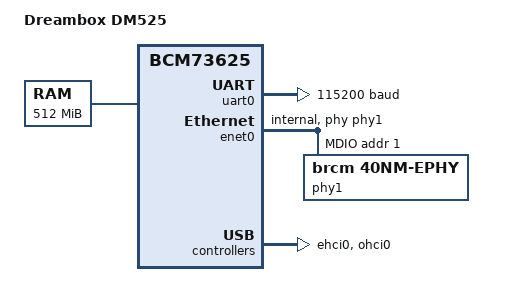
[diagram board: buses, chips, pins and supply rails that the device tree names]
// SPDX-License-Identifier: GPL-2.0
/*
 * Dreambox DM525 (BCM73625A0, BMIPS4380 V6.5, little-endian).
 *
 * Not a BCM7362. The RDB window base 0x10000000 is the same translation
 * that puts this SoC's captured peripherals at the addresses below, but
 * the memory map is the vendor map for this box and nothing else is
 * copied from bcm7362.dtsi.
 *
 * RAM is 512 MiB in two banks. The vendor kernel reserved
 * 0x04000000-0x0fffffff as decoder bmem. This kernel has no decoder
 * driver and no video output, so that window is normal memory.
 * The bank at 0x20000000 is above the 512 MiB direct map, so it is
 * highmem. 16 KiB pages remove the dcache alias that made Linux
 * drop highmem on this CPU.
 *
 * Captured MMIO, not instantiated here:
 *   NAND  0x10412800
 *   SPI   0x10413000
 *
 * USB host is instantiated. EHCI 0x10480300 and OHCI 0x10480400 match
 * /proc/iomem. The vendor Linux IRQ numbers were 66 and 67, one above
 * the hardware lines (the same +1 offset as the UART at linux IRQ 62
 * versus hardware line 61). The L1 controller address is the one every
 * BCM7xxx STB dts in this tree uses for this RDB window; it was not in
 * /proc/iomem.
 */
/dts-v1/;

/ {
	compatible = "dreambox,dm525", "brcm,bcm73625";
	model = "Dreambox DM525";
	#address-cells = <1>;
	#size-cells = <1>;

	cpus {
		#address-cells = <1>;
		#size-cells = <0>;

		/* BMIPS count register runs at half the 751 MHz CPU clock. */
		mips-hpt-frequency = <375500000>;

		cpu@0 {
			compatible = "brcm,bmips4380";
			device_type = "cpu";
			reg = <0>;
		};

		/* Second thread on the one BMIPS4380 core. */
		cpu@1 {
			compatible = "brcm,bmips4380";
			device_type = "cpu";
			reg = <1>;
		};
	};

	cpu_intc: interrupt-controller {
		compatible = "mti,cpu-interrupt-controller";
		#address-cells = <0>;
		interrupt-controller;
		#interrupt-cells = <1>;
	};

	aliases {
		serial0 = &uart0;
	};

	chosen {
		/*
		 * No earlycon=. The 8250 earlycon on this UART prints a
		 * few lines and then waits forever for the shift register
		 * to go empty. Early printk uses the divisor CFE left at
		 * 115200 until the ttyS0 console takes over.
		 */
		bootargs = "console=ttyS0,115200";
		stdout-path = &uart0;
	};

	memory@0 {
		device_type = "memory";
		reg = <0x00000000 0x10000000>,
		      <0x20000000 0x10000000>;
	};

	rdb {
		compatible = "simple-bus";
		#address-cells = <1>;
		#size-cells = <1>;
		ranges = <0x0 0x10000000 0x01000000>;

		/*
		 * Same RDB slot as the other BCM7xxx STB chips whose UART
		 * and USB addresses match this board. The soc-id driver
		 * does not match a plain syscon, so this is not read
		 * until reboot.
		 */
		sun_top_ctrl: syscon@404000 {
			compatible = "syscon";
			reg = <0x404000 0x400>;
			native-endian;
		};

		reboot {
			compatible = "brcm,brcmstb-reboot";
			syscon = <&sun_top_ctrl 0x304 0x308>;
		};

		periph_intc: interrupt-controller@411400 {
			compatible = "brcm,bcm7038-l1-intc";
			reg = <0x411400 0x30>, <0x411600 0x30>;
			interrupt-controller;
			#interrupt-cells = <1>;
			interrupt-parent = <&cpu_intc>;
			interrupts = <2>, <3>;
		};

		/*
		 * 0x406800 + 0x10000000 = 0x10406800, size 0x20.
		 * Eight 16550 registers at a 4-byte stride (reg-shift 2).
		 * CFE left divisor 5 and LCR 8N1, which is 115200 from a
		 * 9.216 MHz UART clock. clock-frequency makes the 8250
		 * driver program that same divisor. The UART's own
		 * interrupt is pending in IIR while L1 line 61 stays
		 * clear, so the port is polled instead of wired to an IRQ.
		 */
		uart0: serial@406800 {
			compatible = "ns16550a";
			reg = <0x406800 0x20>;
			reg-io-width = <4>;
			reg-shift = <2>;
			native-endian;
			clock-frequency = <9216000>;
			current-speed = <115200>;
			no-loopback-test;
		};

		/*
		 * Onboard internal PHY. Vendor /proc/iomem maps
		 * 0x10430000-0x10434fff, which is this RDB offset.
		 * That 20 KiB window matches the GENET v2 register
		 * layout. CFE reports PHY address 1, internal, 100 Mbit.
		 * Interrupt lines are the BCM7362 ones; the same numbering
		 * is what made USB enumerate.
		 */
		enet0: ethernet@430000 {
			compatible = "brcm,genet-v2";
			reg = <0x430000 0x5000>;
			interrupts = <24>, <25>;
			interrupt-parent = <&periph_intc>;
			phy-mode = "internal";
			phy-handle = <&phy1>;
			mac-address = [ 00 09 34 40 16 80 ];
			/* RBUF_ENERGY_CTRL is not implemented; reading it oopses. */
			brcm,eee-broken;
			/*
			 * 24 is the general line. On this v2 it also carries
			 * default-queue TX/RX DMA-done. 25 is the per-queue line.
			 */
			#address-cells = <1>;
			#size-cells = <1>;

			mdio@e14 {
				compatible = "brcm,genet-mdio-v2";
				#address-cells = <1>;
				#size-cells = <0>;
				reg = <0xe14 0x8>;

				phy1: ethernet-phy@1 {
					compatible = "brcm,40nm-ephy",
						     "ethernet-phy-ieee802.3-c22";
					reg = <1>;
					max-speed = <100>;
				};
			};
		};

		ehci0: usb@480300 {
			compatible = "brcm,bcm73625-ehci", "generic-ehci";
			reg = <0x480300 0x100>;
			native-endian;
			/*
			 * Port-overcurrent reads as stuck on this SoC. Without
			 * this the hub powers the ports off and nothing enumerates.
			 */
			spurious-oc;
			interrupt-parent = <&periph_intc>;
			interrupts = <65>;
		};

		ohci0: usb@480400 {
			compatible = "generic-ohci";
			reg = <0x480400 0x100>;
			native-endian;
			no-big-frame-no;
			interrupt-parent = <&periph_intc>;
			interrupts = <66>;
		};
	};
};
